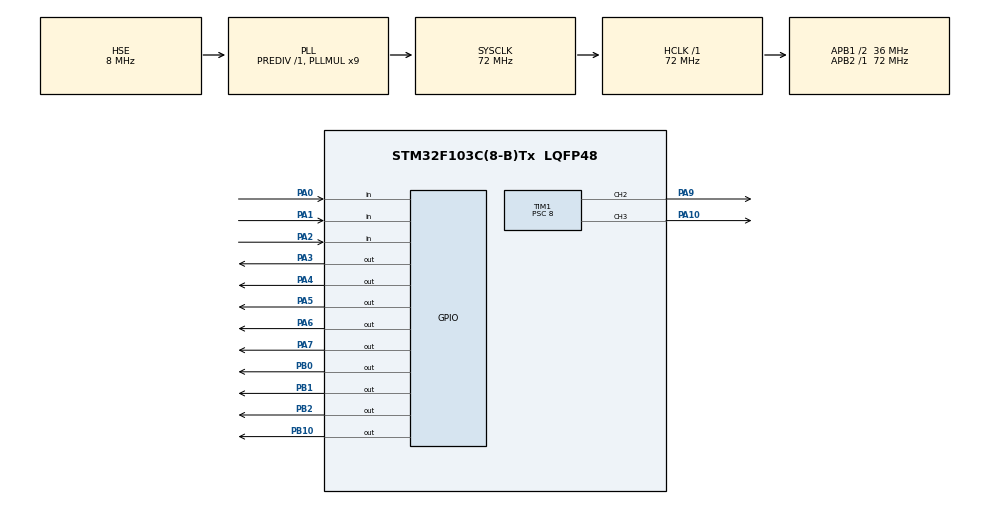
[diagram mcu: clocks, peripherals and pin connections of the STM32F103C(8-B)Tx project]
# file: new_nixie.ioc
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Mcu.Family=STM32F1
Mcu.Name=STM32F103C(8-B)Tx
Mcu.Package=LQFP48
NVIC.PriorityGroup=NVIC_PRIORITYGROUP_4
NVIC.TIM3_IRQn=true\:0\:0\:false\:false\:true\:true\:true\:true
PA0-WKUP.GPIO_PuPd=GPIO_PULLUP
PA0-WKUP.Signal=GPIO_Input
PA1.GPIO_PuPd=GPIO_PULLUP
PA1.Signal=GPIO_Input
PA10.Signal=S_TIM1_CH3
PA13.Mode=Serial_Wire
PA13.Signal=SYS_JTMS-SWDIO
PA14.Mode=Serial_Wire
PA14.Signal=SYS_JTCK-SWCLK
PA2.GPIO_PuPd=GPIO_PULLUP
PA2.Signal=GPIO_Input
PA3.GPIO_Speed=GPIO_SPEED_FREQ_HIGH
PA3.Signal=GPIO_Output
PA4.Signal=GPIO_Output
PA5.Signal=GPIO_Output
PA6.Signal=GPIO_Output
PA7.Signal=GPIO_Output
PA9.Signal=S_TIM1_CH2
PB0.Signal=GPIO_Output
PB1.Signal=GPIO_Output
PB10.Signal=GPIO_Output
PB2.Signal=GPIO_Output
PC14-OSC32_IN.Mode=LSE-External-Oscillator
PC14-OSC32_IN.Signal=RCC_OSC32_IN
PC15-OSC32_OUT.Mode=LSE-External-Oscillator
PC15-OSC32_OUT.Signal=RCC_OSC32_OUT
PD0-OSC_IN.Mode=HSE-External-Oscillator
PD0-OSC_IN.Signal=RCC_OSC_IN
PD1-OSC_OUT.Mode=HSE-External-Oscillator
PD1-OSC_OUT.Signal=RCC_OSC_OUT
ProjectManager.HeapSize=0x200
ProjectManager.StackSize=0x400
ProjectManager.TargetToolchain=Makefile
RCC.AHBFreq_Value=72000000
RCC.APB1CLKDivider=RCC_HCLK_DIV2
RCC.APB1Freq_Value=36000000
RCC.APB1TimFreq_Value=72000000
RCC.APB2Freq_Value=72000000
RCC.APB2TimFreq_Value=72000000
RCC.HCLKFreq_Value=72000000
RCC.PLLMUL=RCC_PLL_MUL9
RCC.PLLSourceVirtual=RCC_PLLSOURCE_HSE
RCC.RTCClockSelection=RCC_RTCCLKSOURCE_LSE
RCC.SYSCLKFreq_VALUE=72000000
RCC.SYSCLKSource=RCC_SYSCLKSOURCE_PLLCLK
RCC.USBFreq_Value=72000000
SH.S_TIM1_CH2.0=TIM1_CH2,PWM Generation2 CH2
SH.S_TIM1_CH3.0=TIM1_CH3,PWM Generation3 CH3
TIM1.Channel-PWM\ Generation2\ CH2=TIM_CHANNEL_2
TIM1.Channel-PWM\ Generation3\ CH3=TIM_CHANNEL_3
TIM1.Period=255
TIM1.Prescaler=8
TIM3.Channel-PWM\ Generation1\ No\ Output=TIM_CHANNEL_1
TIM3.ClockDivision=TIM_CLOCKDIVISION_DIV4
TIM3.Period=255
TIM3.Prescaler=71
TIM3.TIM_MasterOutputTrigger=TIM_TRGO_UPDATE
VP_RTC_VS_RTC_Activate.Mode=RTC_Enabled
VP_TIM3_VS_ClockSourceINT.Mode=Internal
VP_TIM3_VS_no_output1.Mode=PWM Generation1 No Output
board=custom

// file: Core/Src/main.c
/* USER CODE BEGIN Header */
/**
 ******************************************************************************
 * @file           : main.c
 * @brief          : Main program body
 ******************************************************************************
 * @attention
 *
 * Copyright (c) 2025 STMicroelectronics.
 * All rights reserved.
 *
 * This software is licensed under terms that can be found in the LICENSE file
 * in the root directory of this software component.
 * If no LICENSE file comes with this software, it is provided AS-IS.
 *
 ******************************************************************************
 */
/* USER CODE END Header */
#include "main.h"

/* USER CODE BEGIN Includes */
#include <stdbool.h>
#include <stdlib.h>
// #include "stm32f10x_flash.h"
/* USER CODE END Includes */

/* USER CODE BEGIN PD */

#define GPIO_SET_PIN(port, pin) ((port)->BSRR = (pin))
#define GPIO_CLEAR_PIN(port, pin) ((port)->BSRR = (pin << 16u))

#define DUTY 195
// #define DUTY 0

// these timings shoud be randomised a bit, to avoid stroboscopic effect when
// filming
#define DELAY1 469  // smth about 500
#define DELAY2 2047 // smth about 2000

#define TEST_FUNC_DELAY 10

#define DEC_BIT0 GPIOA, GPIO_PIN_5
#define DEC_BIT1 GPIOB, GPIO_PIN_1
#define DEC_BIT2 GPIOB, GPIO_PIN_10
#define DEC_BIT3 GPIOA, GPIO_PIN_7

#define RGB_NUM 4
#define PWM_MIN 0
#define PWM_HIGH 7
#define PWM_LOW 2
#define RGB_OFFSET 100

#define NEON_ORANGE 0xFF6700
#define RED 0xFF0000
#define GREEN 0x00FF00
#define BLUE 0x0000FF
#define ROYAL_FUCHSIA 0xCA2C92
#define POMEGRANATE 0xF34723
#define MINT 0x3EB489
#define CORNFLOWER_BLUE 0x6495ED
#define BULGARIAN_ROSE 0x480607
#define BYZANTINE 0xBD33A4
#define AMBER 0xFFBF00
#define PERSIAN_INDIGO 0x32127A
#define BLACK 0x000000

#define NEON_ORANGE_BLINK 14
#define RANDOM_BLINK 15
#define NUMBER_OF_COLORS 12 // except black which is a zero element of array
/* USER CODE END PD */

RTC_HandleTypeDef hrtc;

TIM_HandleTypeDef htim1;
TIM_HandleTypeDef htim3;

/* USER CODE BEGIN PV */
_Bool irq_flag = 0;

uint8_t a, b, c, d; // digits
_Bool sp; // flag that ensures that test() func will be called single time
          // during a minute if the conditions for calling test() are met
uint16_t i; // tick counter in while(1) to set button press delay
extern volatile uint8_t num; // anode state machine variable in while(1)
uint32_t get_tick_prev =
    0; // prev timestamp state variable for nonblocking wait in while(1) loop
       // for working with "+" and "-" buttons
uint32_t get_tick_prev_btn3 =
    0; // prev timestamp state variable for nonblocking wait in while(1) loop
       // for working with "RGB" button
uint32_t _test_tick_prev =
    0; // prev timestamp state variable for nonblocking wait in test() func
uint32_t tmp_minutes = 0; // the whole day's tmp minutes counter for correct
                          // work of the time subtraction code in while(1)
volatile uint32_t tick_us = 0;
_Bool show_rgb_demo = true;
uint32_t rgb_demo_color = NEON_ORANGE;
uint8_t tmp_color_counter = 1;

typedef struct {
  uint32_t color;
  uint8_t top_point_delay_step;
  uint32_t get_tick_prev_us; // prev timestamp state variable for nonblocking
                             // wait in rgb_demo(...)
  uint8_t current_led_num;
  _Bool init;
} RGBDemoStateMachine;

RGBDemoStateMachine rgb_demo_state_machine;

uint8_t rgb_mode = 0;
uint32_t rgb_mode_colors[256] = {
    BLACK,          RED,           GREEN,
    BLUE,           ROYAL_FUCHSIA, NEON_ORANGE,
    POMEGRANATE,    MINT,          CORNFLOWER_BLUE,
    BULGARIAN_ROSE, BYZANTINE,     AMBER,
    PERSIAN_INDIGO,
};

uint16_t dma_pwm_buff[RGB_NUM * 24 + RGB_OFFSET] = {
    0,
};
uint32_t colors_buf[RGB_NUM] = {
    0,
};
uint32_t grb_colors_buf[RGB_NUM] = {
    0,
};
/* USER CODE END PV */

void SystemClock_Config(void);
static void MX_GPIO_Init(void);
static void MX_TIM1_Init(void);
static void MX_RTC_Init(void);
static void MX_TIM3_Init(void);
/* USER CODE BEGIN PFP */

volatile uint32_t my_random(uint32_t min, uint32_t max);
void decoder_write(uint8_t num);
__STATIC_INLINE uint32_t GetTick_us();
void all_clear();
__STATIC_INLINE void wait(__IO uint32_t us);
void anode_switch(uint8_t num);
void test();
void grb_to_pwm(uint32_t *grb_buf, uint16_t *out_buf);
__STATIC_INLINE void bitbang_rgb_write(uint16_t *in_buf, int len);
void rgb_to_grb(uint32_t *rgb_buf, uint32_t *grb_buf);
void rgb_demo(RGBDemoStateMachine *states, uint32_t in_color,
              uint32_t grayscale_num, uint32_t grayscale_shift,
              uint32_t step_delay);
void reset_rgb_demo_states(RGBDemoStateMachine *states);
void set_array_with_color(uint32_t *rgb_buf, uint32_t color);
void SetReadOutProtection();

/* USER CODE END PFP */

int main(void) {

  /* MCU Configuration--------------------------------------------------------*/

  /* Reset of all peripherals, Initializes the Flash interface and the Systick.
   */
  HAL_Init();

  /* Configure the system clock */
  SystemClock_Config();

  /* Initialize all configured peripherals */
  MX_GPIO_Init();
  MX_TIM1_Init();
  MX_RTC_Init();
  MX_TIM3_Init();
  /* USER CODE BEGIN 2 */
  HAL_TIM_PWM_Start(&htim1, TIM_CHANNEL_2);
  HAL_TIM_PWM_Start(&htim1, TIM_CHANNEL_3);
  HAL_TIM_PWM_Start_IT(&htim3, TIM_CHANNEL_1);
  HAL_RTCEx_TamperIRQHandler(&hrtc);
  for (int i = 0; i < DUTY; i++) {
    TIM1->CCR2 = i;
    HAL_Delay(10);
  }
  RTC_TimeTypeDef sTime;
  RTC_DateTypeDef sDate;
  HAL_RTC_SetDate(&hrtc, &sDate, RTC_FORMAT_BIN);
  test();
  rgb_to_grb(colors_buf, grb_colors_buf);
  grb_to_pwm(grb_colors_buf, dma_pwm_buff);
  rgb_mode = HAL_RTCEx_BKUPRead(&hrtc, RTC_BKP_DR1);

  SetReadOutProtection();

  // HAL_TIM_PWM_Start_DMA(&htim2, TIM_CHANNEL_4, (uint32_t*)dma_pwm_buff,
  // RGB_NUM*24+RGB_OFFSET);
  /* USER CODE END 2 */

  /* Infinite loop */
  /* USER CODE BEGIN WHILE */
  while (1) {
    if (rgb_mode == NEON_ORANGE_BLINK) {
      show_rgb_demo = true;
      rgb_demo_color = NEON_ORANGE;

    } else if (rgb_mode == RANDOM_BLINK) {
      show_rgb_demo = true;
    }
    if (show_rgb_demo) {
      rgb_demo(&rgb_demo_state_machine, rgb_demo_color, 100, 5, 10);
      if (!rgb_demo_state_machine.init &&
          rgb_demo_state_machine.current_led_num < 3) {
        rgb_demo_state_machine.current_led_num++;
        if (rgb_mode == RANDOM_BLINK) {
          if (tmp_color_counter < NUMBER_OF_COLORS + 1) {
            tmp_color_counter++;
          }
          if (tmp_color_counter >= NUMBER_OF_COLORS + 1) {
            tmp_color_counter = my_random(1, NUMBER_OF_COLORS);
          }
          rgb_demo_color = rgb_mode_colors[tmp_color_counter];
        }
      } else if (!rgb_demo_state_machine.init &&
                 rgb_demo_state_machine.current_led_num >= 3) {
        rgb_demo_state_machine.current_led_num = 0;
        show_rgb_demo = false;

        if (rgb_mode <= NUMBER_OF_COLORS) {
          set_array_with_color(colors_buf, rgb_mode_colors[rgb_mode]);
          rgb_to_grb(colors_buf, grb_colors_buf);
          grb_to_pwm(grb_colors_buf, dma_pwm_buff);
          bitbang_rgb_write(dma_pwm_buff, RGB_NUM * 24 + RGB_OFFSET);
        }
      }
    }

    // bitbang_rgb_write(dma_pwm_buff, RGB_NUM*24+RGB_OFFSET);
    HAL_RTC_GetTime(&hrtc, &sTime, RTC_FORMAT_BIN);
    d = sTime.Hours / 10;
    c = sTime.Hours % 10;
    b = sTime.Minutes / 10;
    a = sTime.Minutes % 10;
    if (irq_flag == 1) {
      anode_switch(num);
      irq_flag = 0;
    }

    if (HAL_GPIO_ReadPin(GPIOA, GPIO_PIN_0) == 0) {
      if (i < 5) {
        if ((HAL_GetTick() - get_tick_prev) > 250) {
          sTime.Minutes++;
          HAL_RTC_SetTime(&hrtc, &sTime, RTC_FORMAT_BIN);
          HAL_RTC_SetDate(&hrtc, &sDate, RTC_FORMAT_BIN);
          get_tick_prev = HAL_GetTick();
          i++;
        }
      } else {
        if ((HAL_GetTick() - get_tick_prev) > 20) {
          sTime.Minutes++;
          HAL_RTC_SetTime(&hrtc, &sTime, RTC_FORMAT_BIN);
          HAL_RTC_SetDate(&hrtc, &sDate, RTC_FORMAT_BIN);
          get_tick_prev = HAL_GetTick();
          i++;
        }
      }
    } else if (HAL_GPIO_ReadPin(GPIOA, GPIO_PIN_1) == 0) {
      if (i < 5) {
        if ((HAL_GetTick() - get_tick_prev) > 250) {
          tmp_minutes--;
          if (tmp_minutes > 1439) {
            tmp_minutes = 1439;
          }
          sTime.Hours = tmp_minutes / 60;
          sTime.Minutes = tmp_minutes % 60;
          HAL_RTC_SetTime(&hrtc, &sTime, RTC_FORMAT_BIN);
          HAL_RTC_SetDate(&hrtc, &sDate, RTC_FORMAT_BIN);
          get_tick_prev = HAL_GetTick();
          i++;
        }
      } else {
        if ((HAL_GetTick() - get_tick_prev) > 20) {
          tmp_minutes--;
          if (tmp_minutes > 1439) {
            tmp_minutes = 1439;
          }
          sTime.Hours = tmp_minutes / 60;
          sTime.Minutes = tmp_minutes % 60;
          HAL_RTC_SetTime(&hrtc, &sTime, RTC_FORMAT_BIN);
          HAL_RTC_SetDate(&hrtc, &sDate, RTC_FORMAT_BIN);
          get_tick_prev = HAL_GetTick();
          i++;
        }
      }
    } else {
      i = 0;
      tmp_minutes = sTime.Minutes + sTime.Hours * 60;
    }

    if (HAL_GPIO_ReadPin(GPIOA, GPIO_PIN_2) == 0) {
      if ((HAL_GetTick() - get_tick_prev_btn3) > 300) {
        rgb_mode++;
        if (rgb_mode > RANDOM_BLINK) {
          rgb_mode = 0;
          show_rgb_demo = false;
          reset_rgb_demo_states(&rgb_demo_state_machine);
          set_array_with_color(colors_buf, BLACK);
        }
        if (rgb_mode <= NUMBER_OF_COLORS) {
          set_array_with_color(colors_buf, rgb_mode_colors[rgb_mode]);
        } else if (rgb_mode == NUMBER_OF_COLORS + 1) { // special multicolor
                                                       // mode
          colors_buf[0] = CORNFLOWER_BLUE;
          colors_buf[1] = NEON_ORANGE;
          colors_buf[2] = MINT;
          colors_buf[3] = BYZANTINE;
        } else if (rgb_mode > NUMBER_OF_COLORS + 1 &&
                   rgb_mode <= NEON_ORANGE_BLINK) {
          reset_rgb_demo_states(&rgb_demo_state_machine);
          set_array_with_color(colors_buf, BLACK);
        }
        HAL_PWR_EnableBkUpAccess();
        HAL_RTCEx_BKUPWrite(&hrtc, RTC_BKP_DR1, rgb_mode);
        // HAL_PWR_DisableBkUpAccess();
        rgb_to_grb(colors_buf, grb_colors_buf);
        grb_to_pwm(grb_colors_buf, dma_pwm_buff);
        bitbang_rgb_write(dma_pwm_buff, RGB_NUM * 24 + RGB_OFFSET);
        get_tick_prev_btn3 = HAL_GetTick();
      }
    }

    if ((sTime.Minutes % 10 == 5) && (sp == 0) &&
        (HAL_GPIO_ReadPin(GPIOA, GPIO_PIN_1)) &&
        (HAL_GPIO_ReadPin(GPIOA, GPIO_PIN_0))) {
      test();
      sp = 1;
    }
    if (sTime.Minutes % 10 != 5) {
      sp = 0;
    }
    /* USER CODE END WHILE */

  }
}

void SystemClock_Config(void) {
  RCC_OscInitTypeDef RCC_OscInitStruct = {0};
  RCC_ClkInitTypeDef RCC_ClkInitStruct = {0};
  RCC_PeriphCLKInitTypeDef PeriphClkInit = {0};

  /** Initializes the RCC Oscillators according to the specified parameters
   * in the RCC_OscInitTypeDef structure.
   */
  RCC_OscInitStruct.OscillatorType =
      RCC_OSCILLATORTYPE_HSE | RCC_OSCILLATORTYPE_LSE;
  RCC_OscInitStruct.HSEState = RCC_HSE_ON;
  RCC_OscInitStruct.HSEPredivValue = RCC_HSE_PREDIV_DIV1;
  RCC_OscInitStruct.LSEState = RCC_LSE_ON;
  RCC_OscInitStruct.HSIState = RCC_HSI_ON;
  RCC_OscInitStruct.PLL.PLLState = RCC_PLL_ON;
  RCC_OscInitStruct.PLL.PLLSource = RCC_PLLSOURCE_HSE;
  RCC_OscInitStruct.PLL.PLLMUL = RCC_PLL_MUL9;
  if (HAL_RCC_OscConfig(&RCC_OscInitStruct) != HAL_OK) {
    Error_Handler();
  }

  /** Initializes the CPU, AHB and APB buses clocks
   */
  RCC_ClkInitStruct.ClockType = RCC_CLOCKTYPE_HCLK | RCC_CLOCKTYPE_SYSCLK |
                                RCC_CLOCKTYPE_PCLK1 | RCC_CLOCKTYPE_PCLK2;
  RCC_ClkInitStruct.SYSCLKSource = RCC_SYSCLKSOURCE_PLLCLK;
  RCC_ClkInitStruct.AHBCLKDivider = RCC_SYSCLK_DIV1;
  RCC_ClkInitStruct.APB1CLKDivider = RCC_HCLK_DIV2;
  RCC_ClkInitStruct.APB2CLKDivider = RCC_HCLK_DIV1;

  if (HAL_RCC_ClockConfig(&RCC_ClkInitStruct, FLASH_LATENCY_2) != HAL_OK) {
    Error_Handler();
  }
  PeriphClkInit.PeriphClockSelection = RCC_PERIPHCLK_RTC;
  PeriphClkInit.RTCClockSelection = RCC_RTCCLKSOURCE_LSE;
  if (HAL_RCCEx_PeriphCLKConfig(&PeriphClkInit) != HAL_OK) {
    Error_Handler();
  }
}

static void MX_RTC_Init(void) {

  /** Initialize RTC Only
   */
  hrtc.Instance = RTC;
  hrtc.Init.AsynchPrediv = RTC_AUTO_1_SECOND;
  hrtc.Init.OutPut = RTC_OUTPUTSOURCE_ALARM;
  if (HAL_RTC_Init(&hrtc) != HAL_OK) {
    Error_Handler();
  }
}

static void MX_TIM1_Init(void) {

  TIM_MasterConfigTypeDef sMasterConfig = {0};
  TIM_OC_InitTypeDef sConfigOC = {0};
  TIM_BreakDeadTimeConfigTypeDef sBreakDeadTimeConfig = {0};

  htim1.Instance = TIM1;
  htim1.Init.Prescaler = 8;
  htim1.Init.CounterMode = TIM_COUNTERMODE_UP;
  htim1.Init.Period = 255;
  htim1.Init.ClockDivision = TIM_CLOCKDIVISION_DIV1;
  htim1.Init.RepetitionCounter = 0;
  htim1.Init.AutoReloadPreload = TIM_AUTORELOAD_PRELOAD_DISABLE;
  if (HAL_TIM_PWM_Init(&htim1) != HAL_OK) {
    Error_Handler();
  }
  sMasterConfig.MasterOutputTrigger = TIM_TRGO_RESET;
  sMasterConfig.MasterSlaveMode = TIM_MASTERSLAVEMODE_DISABLE;
  if (HAL_TIMEx_MasterConfigSynchronization(&htim1, &sMasterConfig) != HAL_OK) {
    Error_Handler();
  }
  sConfigOC.OCMode = TIM_OCMODE_PWM1;
  sConfigOC.Pulse = 0;
  sConfigOC.OCPolarity = TIM_OCPOLARITY_HIGH;
  sConfigOC.OCNPolarity = TIM_OCNPOLARITY_HIGH;
  sConfigOC.OCFastMode = TIM_OCFAST_DISABLE;
  sConfigOC.OCIdleState = TIM_OCIDLESTATE_RESET;
  sConfigOC.OCNIdleState = TIM_OCNIDLESTATE_RESET;
  if (HAL_TIM_PWM_ConfigChannel(&htim1, &sConfigOC, TIM_CHANNEL_2) != HAL_OK) {
    Error_Handler();
  }
  if (HAL_TIM_PWM_ConfigChannel(&htim1, &sConfigOC, TIM_CHANNEL_3) != HAL_OK) {
    Error_Handler();
  }
  sBreakDeadTimeConfig.OffStateRunMode = TIM_OSSR_DISABLE;
  sBreakDeadTimeConfig.OffStateIDLEMode = TIM_OSSI_DISABLE;
  sBreakDeadTimeConfig.LockLevel = TIM_LOCKLEVEL_OFF;
  sBreakDeadTimeConfig.DeadTime = 0;
  sBreakDeadTimeConfig.BreakState = TIM_BREAK_DISABLE;
  sBreakDeadTimeConfig.BreakPolarity = TIM_BREAKPOLARITY_HIGH;
  sBreakDeadTimeConfig.AutomaticOutput = TIM_AUTOMATICOUTPUT_DISABLE;
  if (HAL_TIMEx_ConfigBreakDeadTime(&htim1, &sBreakDeadTimeConfig) != HAL_OK) {
    Error_Handler();
  }
  HAL_TIM_MspPostInit(&htim1);
}

static void MX_TIM3_Init(void) {

  TIM_ClockConfigTypeDef sClockSourceConfig = {0};
  TIM_MasterConfigTypeDef sMasterConfig = {0};
  TIM_OC_InitTypeDef sConfigOC = {0};

  htim3.Instance = TIM3;
  htim3.Init.Prescaler = 71;
  htim3.Init.CounterMode = TIM_COUNTERMODE_UP;
  htim3.Init.Period = 255;
  htim3.Init.ClockDivision = TIM_CLOCKDIVISION_DIV4;
  htim3.Init.AutoReloadPreload = TIM_AUTORELOAD_PRELOAD_DISABLE;
  if (HAL_TIM_Base_Init(&htim3) != HAL_OK) {
    Error_Handler();
  }
  sClockSourceConfig.ClockSource = TIM_CLOCKSOURCE_INTERNAL;
  if (HAL_TIM_ConfigClockSource(&htim3, &sClockSourceConfig) != HAL_OK) {
    Error_Handler();
  }
  if (HAL_TIM_PWM_Init(&htim3) != HAL_OK) {
    Error_Handler();
  }
  sMasterConfig.MasterOutputTrigger = TIM_TRGO_UPDATE;
  sMasterConfig.MasterSlaveMode = TIM_MASTERSLAVEMODE_DISABLE;
  if (HAL_TIMEx_MasterConfigSynchronization(&htim3, &sMasterConfig) != HAL_OK) {
    Error_Handler();
  }
  sConfigOC.OCMode = TIM_OCMODE_PWM1;
  sConfigOC.Pulse = 0;
  sConfigOC.OCPolarity = TIM_OCPOLARITY_HIGH;
  sConfigOC.OCFastMode = TIM_OCFAST_DISABLE;
  if (HAL_TIM_PWM_ConfigChannel(&htim3, &sConfigOC, TIM_CHANNEL_1) != HAL_OK) {
    Error_Handler();
  }
}

static void MX_GPIO_Init(void) {
  GPIO_InitTypeDef GPIO_InitStruct = {0};

  /* GPIO Ports Clock Enable */
  __HAL_RCC_GPIOC_CLK_ENABLE();
  __HAL_RCC_GPIOD_CLK_ENABLE();
  __HAL_RCC_GPIOA_CLK_ENABLE();
  __HAL_RCC_GPIOB_CLK_ENABLE();

  /*Configure GPIO pin Output Level */
  HAL_GPIO_WritePin(
      GPIOA, GPIO_PIN_3 | GPIO_PIN_4 | GPIO_PIN_5 | GPIO_PIN_6 | GPIO_PIN_7,
      GPIO_PIN_RESET);

  /*Configure GPIO pin Output Level */
  HAL_GPIO_WritePin(GPIOB, GPIO_PIN_0 | GPIO_PIN_1 | GPIO_PIN_2 | GPIO_PIN_10,
                    GPIO_PIN_RESET);

  /*Configure GPIO pins : PA0 PA1 PA2 */
  GPIO_InitStruct.Pin = GPIO_PIN_0 | GPIO_PIN_1 | GPIO_PIN_2;
  GPIO_InitStruct.Mode = GPIO_MODE_INPUT;
  GPIO_InitStruct.Pull = GPIO_PULLUP;
  HAL_GPIO_Init(GPIOA, &GPIO_InitStruct);

  /*Configure GPIO pin : PA3 */
  GPIO_InitStruct.Pin = GPIO_PIN_3;
  GPIO_InitStruct.Mode = GPIO_MODE_OUTPUT_PP;
  GPIO_InitStruct.Pull = GPIO_NOPULL;
  GPIO_InitStruct.Speed = GPIO_SPEED_FREQ_HIGH;
  HAL_GPIO_Init(GPIOA, &GPIO_InitStruct);

  /*Configure GPIO pins : PA4 PA5 PA6 PA7 */
  GPIO_InitStruct.Pin = GPIO_PIN_4 | GPIO_PIN_5 | GPIO_PIN_6 | GPIO_PIN_7;
  GPIO_InitStruct.Mode = GPIO_MODE_OUTPUT_PP;
  GPIO_InitStruct.Pull = GPIO_NOPULL;
  GPIO_InitStruct.Speed = GPIO_SPEED_FREQ_LOW;
  HAL_GPIO_Init(GPIOA, &GPIO_InitStruct);

  /*Configure GPIO pins : PB0 PB1 PB2 PB10 */
  GPIO_InitStruct.Pin = GPIO_PIN_0 | GPIO_PIN_1 | GPIO_PIN_2 | GPIO_PIN_10;
  GPIO_InitStruct.Mode = GPIO_MODE_OUTPUT_PP;
  GPIO_InitStruct.Pull = GPIO_NOPULL;
  GPIO_InitStruct.Speed = GPIO_SPEED_FREQ_LOW;
  HAL_GPIO_Init(GPIOB, &GPIO_InitStruct);

}

/* USER CODE BEGIN 4 */

volatile uint32_t my_random(uint32_t min, uint32_t max) {
  srand(tick_us);
  return min + (uint32_t)rand() / (RAND_MAX / (max - min + 1) + 1);
}

void decoder_write(uint8_t num) {
  switch (num) {
  case 0:
    HAL_GPIO_WritePin(DEC_BIT0, GPIO_PIN_RESET);
    HAL_GPIO_WritePin(DEC_BIT1, GPIO_PIN_RESET);
    HAL_GPIO_WritePin(DEC_BIT2, GPIO_PIN_RESET);
    HAL_GPIO_WritePin(DEC_BIT3, GPIO_PIN_RESET);
    break;
  case 1:
    HAL_GPIO_WritePin(DEC_BIT0, GPIO_PIN_SET);
    HAL_GPIO_WritePin(DEC_BIT1, GPIO_PIN_RESET);
    HAL_GPIO_WritePin(DEC_BIT2, GPIO_PIN_RESET);
    HAL_GPIO_WritePin(DEC_BIT3, GPIO_PIN_RESET);
    break;
  case 2:
    HAL_GPIO_WritePin(DEC_BIT0, GPIO_PIN_RESET);
    HAL_GPIO_WritePin(DEC_BIT1, GPIO_PIN_SET);
    HAL_GPIO_WritePin(DEC_BIT2, GPIO_PIN_RESET);
    HAL_GPIO_WritePin(DEC_BIT3, GPIO_PIN_RESET);
    break;
  case 3:
    HAL_GPIO_WritePin(DEC_BIT0, GPIO_PIN_SET);
    HAL_GPIO_WritePin(DEC_BIT1, GPIO_PIN_SET);
    HAL_GPIO_WritePin(DEC_BIT2, GPIO_PIN_RESET);
    HAL_GPIO_WritePin(DEC_BIT3, GPIO_PIN_RESET);
    break;
  case 4:
    HAL_GPIO_WritePin(DEC_BIT0, GPIO_PIN_RESET);
    HAL_GPIO_WritePin(DEC_BIT1, GPIO_PIN_RESET);
    HAL_GPIO_WritePin(DEC_BIT2, GPIO_PIN_SET);
    HAL_GPIO_WritePin(DEC_BIT3, GPIO_PIN_RESET);
    break;
  case 5:
    HAL_GPIO_WritePin(DEC_BIT0, GPIO_PIN_SET);
    HAL_GPIO_WritePin(DEC_BIT1, GPIO_PIN_RESET);
    HAL_GPIO_WritePin(DEC_BIT2, GPIO_PIN_SET);
    HAL_GPIO_WritePin(DEC_BIT3, GPIO_PIN_RESET);
    break;
  case 6:
    HAL_GPIO_WritePin(DEC_BIT0, GPIO_PIN_RESET);
    HAL_GPIO_WritePin(DEC_BIT1, GPIO_PIN_SET);
    HAL_GPIO_WritePin(DEC_BIT2, GPIO_PIN_SET);
    HAL_GPIO_WritePin(DEC_BIT3, GPIO_PIN_RESET);
    break;
  case 7:
    HAL_GPIO_WritePin(DEC_BIT0, GPIO_PIN_SET);
    HAL_GPIO_WritePin(DEC_BIT1, GPIO_PIN_SET);
    HAL_GPIO_WritePin(DEC_BIT2, GPIO_PIN_SET);
    HAL_GPIO_WritePin(DEC_BIT3, GPIO_PIN_RESET);
    break;
  case 8:
    HAL_GPIO_WritePin(DEC_BIT0, GPIO_PIN_RESET);
    HAL_GPIO_WritePin(DEC_BIT1, GPIO_PIN_RESET);
    HAL_GPIO_WritePin(DEC_BIT2, GPIO_PIN_RESET);
    HAL_GPIO_WritePin(DEC_BIT3, GPIO_PIN_SET);
    break;
  case 9:
    HAL_GPIO_WritePin(DEC_BIT0, GPIO_PIN_SET);
    HAL_GPIO_WritePin(DEC_BIT1, GPIO_PIN_RESET);
    HAL_GPIO_WritePin(DEC_BIT2, GPIO_PIN_RESET);
    HAL_GPIO_WritePin(DEC_BIT3, GPIO_PIN_SET);
    break;
  }
}

__STATIC_INLINE uint32_t GetTick_us() { return tick_us; }

void all_clear() {
  HAL_GPIO_WritePin(GPIOB, GPIO_PIN_1 | GPIO_PIN_10, GPIO_PIN_RESET);
  HAL_GPIO_WritePin(GPIOA, GPIO_PIN_10 | GPIO_PIN_7, GPIO_PIN_RESET);
}

__STATIC_INLINE void wait(__IO uint32_t us) {
  us *= (SystemCoreClock / 1000000) / 5;
  while (us--)
    ;
}

void anode_switch(uint8_t num) {
  switch (num) {
  case 0:
    HAL_GPIO_WritePin(GPIOB, GPIO_PIN_2, GPIO_PIN_RESET);
    wait(DELAY1);
    all_clear();
    decoder_write(d);
    HAL_GPIO_WritePin(GPIOA, GPIO_PIN_4, GPIO_PIN_SET);
    wait(DELAY2);
    break;
  case 1:
    // HAL_GPIO_WritePin(GPIOA, GPIO_PIN_4, GPIO_PIN_RESET);
    break;
  case 2:
    HAL_GPIO_WritePin(GPIOA, GPIO_PIN_4, GPIO_PIN_RESET);
    wait(DELAY1);
    all_clear();
    decoder_write(c);
    HAL_GPIO_WritePin(GPIOA, GPIO_PIN_6, GPIO_PIN_SET);
    wait(DELAY2);
    break;
  case 3:
    // HAL_GPIO_WritePin(GPIOA, GPIO_PIN_6, GPIO_PIN_RESET);
    break;
  case 4:
    HAL_GPIO_WritePin(GPIOA, GPIO_PIN_6, GPIO_PIN_RESET);
    wait(DELAY1);
    all_clear();
    decoder_write(b);
    HAL_GPIO_WritePin(GPIOB, GPIO_PIN_0, GPIO_PIN_SET);
    wait(DELAY2);
    break;
  case 5:
    // HAL_GPIO_WritePin(GPIOB, GPIO_PIN_0, GPIO_PIN_RESET);
    break;
  case 6:
    HAL_GPIO_WritePin(GPIOB, GPIO_PIN_0, GPIO_PIN_RESET);
    wait(DELAY1);
    all_clear();
    decoder_write(a);
    HAL_GPIO_WritePin(GPIOB, GPIO_PIN_2, GPIO_PIN_SET);
    wait(DELAY2);
    break;
  case 7:
    // HAL_GPIO_WritePin(GPIOB, GPIO_PIN_2, GPIO_PIN_RESET);
    break;
  }
}

void test() {
  uint32_t tmp_counter = 0;
  uint32_t tmp_value = 0;
  while (tmp_counter <= 15) {
    if ((HAL_GetTick() - _test_tick_prev) > TEST_FUNC_DELAY) {
      _test_tick_prev = GetTick_us();
      tmp_counter++;
      tmp_value = my_random(0, 9999);
    }

    a = tmp_value / 1000;
    b = (tmp_value / 100) % 10;
    c = (tmp_value / 10) % 10;
    d = tmp_value % 10;

    for (int i = 0; i < 8; i++) {
      anode_switch(i);
      wait(DELAY2);
    }
  }
}

void grb_to_pwm(uint32_t *grb_buf, uint16_t *out_buf) {
  for (int i = 0; i < RGB_NUM * 24 + RGB_OFFSET; i++) {
    if (i < (RGB_OFFSET / 2)) {
      out_buf[i] = PWM_MIN;
    } else if (i >= (RGB_OFFSET / 2) && i < RGB_NUM * 24 + (RGB_OFFSET / 2)) {
      _Bool current_bit = (grb_buf[((i - (RGB_OFFSET / 2)) / 24)] >>
                           (23 - ((i - (RGB_OFFSET / 2)) % 24))) %
                          2;
      if (current_bit) {
        out_buf[i] = PWM_HIGH;
      } else {
        out_buf[i] = PWM_LOW;
      }
    } else {
      out_buf[i] = PWM_MIN;
    }
  }
}

__STATIC_INLINE void bitbang_rgb_write(uint16_t *in_buf, int len) {
  __disable_irq();
  for (int i = 0; i < len; i++) {
    if (in_buf[i] == PWM_LOW) {
      GPIO_SET_PIN(GPIOA, GPIO_PIN_3);
      __NOP();
      __NOP();
      __NOP();
      __NOP();
      __NOP();
      __NOP();
      __NOP();
      __NOP();
      __NOP();
      __NOP();
      __NOP();
      __NOP();
      __NOP();
      GPIO_CLEAR_PIN(GPIOA, GPIO_PIN_3);
      __NOP();
      __NOP();
      __NOP();
      __NOP();
      __NOP();
      __NOP();
      __NOP();
      __NOP();
      __NOP();
      __NOP();
      __NOP();
      __NOP();
      __NOP();
      __NOP();
      __NOP();
      __NOP();
      __NOP();
      __NOP();
      __NOP();
      __NOP();
      __NOP();
      __NOP();
      __NOP();
      __NOP();
      __NOP();
      __NOP();
      __NOP();
      __NOP();
      __NOP();
      __NOP();
      __NOP();
      __NOP();
      __NOP();
      __NOP();
      __NOP();
      __NOP();
      __NOP();
      __NOP();
      __NOP();
      __NOP();
    } else if (in_buf[i] == PWM_HIGH) {
      GPIO_SET_PIN(GPIOA, GPIO_PIN_3);
      __NOP();
      __NOP();
      __NOP();
      __NOP();
      __NOP();
      __NOP();
      __NOP();
      __NOP();
      __NOP();
      __NOP();
      __NOP();
      __NOP();
      __NOP();
      __NOP();
      __NOP();
      __NOP();
      __NOP();
      __NOP();
      __NOP();
      __NOP();
      __NOP();
      __NOP();
      __NOP();
      __NOP();
      __NOP();
      __NOP();
      __NOP();
      __NOP();
      __NOP();
      __NOP();
      __NOP();
      __NOP();
      __NOP();
      __NOP();
      __NOP();
      __NOP();
      __NOP();
      __NOP();
      __NOP();
      __NOP();
      GPIO_CLEAR_PIN(GPIOA, GPIO_PIN_3);
      __NOP();
      __NOP();
      __NOP();
      __NOP();
      __NOP();
      __NOP();
      __NOP();
      __NOP();
      __NOP();
      __NOP();
      __NOP();
      __NOP();
      __NOP();
    } else {
      GPIO_CLEAR_PIN(GPIOA, GPIO_PIN_3);
    }
  }
  __enable_irq();
}

void rgb_to_grb(uint32_t *rgb_buf, uint32_t *grb_buf) {
  for (int i = 0; i < RGB_NUM; i++) {
    grb_buf[i] = ((rgb_buf[i] & 0x00FF00) << 8) +
                 ((rgb_buf[i] & 0xFF0000) >> 8) + (rgb_buf[i] & 0x0000FF);
  }
}

void rgb_demo(RGBDemoStateMachine *states, uint32_t in_color,
              uint32_t grayscale_num, uint32_t grayscale_shift,
              uint32_t step_delay) {
  float tmp_r = (float)((in_color & 0xFF0000) >> 16);
  float tmp_g = (float)((in_color & 0x00FF00) >> 8);
  float tmp_b = (float)((in_color & 0x0000FF));
  if (!states->init) {
    states->color = grayscale_shift;
    states->top_point_delay_step = 0;
    states->init = true;
  }
  if ((GetTick_us() - states->get_tick_prev_us) > step_delay) {
    if (states->color < grayscale_num && states->top_point_delay_step == 0) {
      states->color++;
    } else if (states->color == grayscale_num &&
               states->top_point_delay_step < 4) {
      states->top_point_delay_step++;
    } else if (states->top_point_delay_step == 4 &&
               states->color > grayscale_shift) {
      states->color--;
    } else if (states->top_point_delay_step == 4 &&
               states->color == grayscale_shift) {
      states->init = false;
    }
  }
  uint32_t tmp_color_buf[RGB_NUM] = {
      0,
  };
  if (states->current_led_num < 4) {
    tmp_color_buf[states->current_led_num] =
        ((uint32_t)(tmp_r /
                    ((float)(grayscale_num) - (float)(states->color + 1)))
         << 16) +
        ((uint32_t)(tmp_g /
                    ((float)(grayscale_num) - (float)(states->color + 1)))
         << 8) +
        ((uint32_t)(tmp_b /
                    ((float)(grayscale_num) - (float)(states->color + 1))));
  }
  rgb_to_grb(tmp_color_buf, grb_colors_buf);
  grb_to_pwm(grb_colors_buf, dma_pwm_buff);
  bitbang_rgb_write(dma_pwm_buff, RGB_NUM * 24 + RGB_OFFSET);

  states->get_tick_prev_us = GetTick_us();
}

void reset_rgb_demo_states(RGBDemoStateMachine *states) {
  states->color = 0;
  states->top_point_delay_step = 0;
  states->get_tick_prev_us = 0;
  states->current_led_num = 0;
  states->init = false;
}

void set_array_with_color(uint32_t *rgb_buf, uint32_t color) {
  for (int i = 0; i < RGB_NUM; i++) {
    rgb_buf[i] = color;
  }
}

void SetReadOutProtection() {
  FLASH_OBProgramInitTypeDef Optbyte;

  __disable_irq();
  HAL_FLASHEx_OBGetConfig(&Optbyte);        // read out RDPLvL
  if (Optbyte.RDPLevel == OB_RDP_LEVEL_0) { //
    Optbyte.OptionType = OPTIONBYTE_RDP;    // select RDP optionbyte
    Optbyte.RDPLevel = OB_RDP_LEVEL_1;      // select RDP level 1
    HAL_FLASH_Unlock();                     // unlock Flash
    HAL_FLASH_OB_Unlock();                  // unlock Optionbytes
    HAL_FLASHEx_OBProgram(&Optbyte);        // set RDP=1
    HAL_FLASH_OB_Launch();                  // write OB to Flash and reset
    HAL_FLASH_OB_Lock();                    // Lock Optionbytes
    HAL_FLASH_Lock();                       // lock Flash
  }
  __enable_irq();
}

/* USER CODE END 4 */

void Error_Handler(void) {
  __disable_irq();
  while (1) {
  }
}

#ifdef USE_FULL_ASSERT
/**
 * @brief  Reports the name of the source file and the source line number
 *         where the assert_param error has occurred.
 * @param  file: pointer to the source file name
 * @param  line: assert_param error line source number
 * @retval None
 */
void assert_failed(uint8_t *file, uint32_t line) {
  /* USER CODE BEGIN 6 */
  /* User can add his own implementation to report the file name and line
     number, ex: printf("Wrong parameters value: file %s on line %d\r\n", file,
     line) */
  /* USER CODE END 6 */
}
#endif /* USE_FULL_ASSERT */
